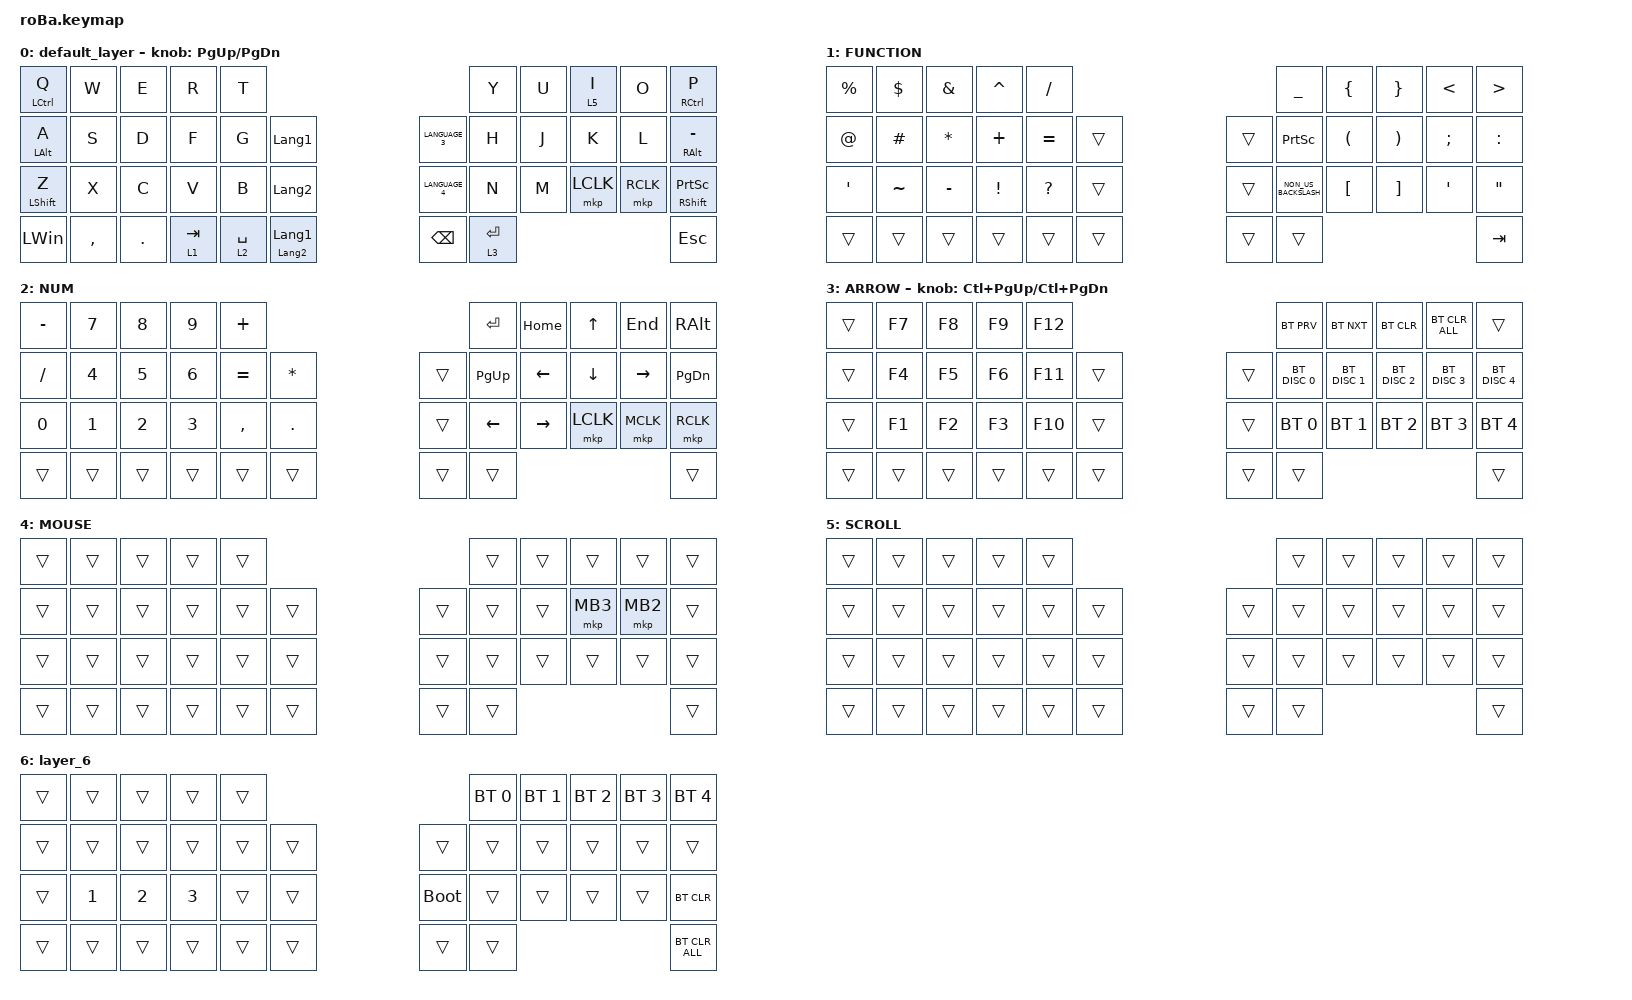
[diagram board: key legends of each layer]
#include <behaviors.dtsi>
#include <dt-bindings/zmk/bt.h>
#include <dt-bindings/zmk/keys.h>
#include <dt-bindings/zmk/pointing.h>

#define MOUSE 4
#define SCROLL 5
#define NUM 6

&mt {
    flavor = "balanced";
    quick-tap-ms = <0>;
};

/ {
    combos {
        compatible = "zmk,combos";

        tab {
            bindings = <&kp TAB>;
            key-positions = <11 12>;
        };

        shift_tab {
            bindings = <&kp LS(TAB)>;
            key-positions = <12 13>;
        };

        muhennkann {
            bindings = <&to_layer_0 INT_MUHENKAN>;
            key-positions = <11 10>;
        };

        double_quotation {
            bindings = <&kp DOUBLE_QUOTES>;
            key-positions = <20 21>;
        };

        eq {
            bindings = <&kp EQUAL>;
            key-positions = <24 25>;
        };
    };

    macros {
        to_layer_0: to_layer_0 {
            compatible = "zmk,behavior-macro-one-param";
            #binding-cells = <1>;
            bindings = <&to 0 &macro_param_1to1 &kp MACRO_PLACEHOLDER>;
            label = "TO_LAYER_0";
        };
    };

    behaviors {
        lt_to_layer_0: lt_to_layer_0 {
            compatible = "zmk,behavior-hold-tap";
            label = "LAYER_TAP_TO_0";
            bindings = <&mo>, <&to_layer_0>;

            #binding-cells = <2>;
            tapping-term-ms = <200>;
        };
    };

    keymap {
        compatible = "zmk,keymap";

        default_layer {
            bindings = <
&mt LEFT_CONTROL Q  &kp W      &kp E    &kp R      &kp T                                                       &kp Y         &kp U  &lt 5 I    &kp O      &mt RIGHT_CONTROL P
&mt LEFT_ALT A      &kp S      &kp D    &kp F      &kp G        &kp LANGUAGE_1                 &kp LANGUAGE_3  &kp H         &kp J  &kp K      &kp L      &mt RIGHT_ALT MINUS
&mt LEFT_SHIFT Z    &kp X      &kp C    &kp V      &kp B        &kp LANGUAGE_2                 &kp LANGUAGE_4  &kp N         &kp M  &mkp LCLK  &mkp RCLK  &mt RIGHT_SHIFT PRINTSCREEN
&kp LEFT_WIN        &kp COMMA  &kp DOT  &lt 1 TAB  &lt 2 SPACE  &mt LANGUAGE_2 LANGUAGE_1      &kp BACKSPACE   &lt 3 RETURN                               &kp ESCAPE
            >;

            sensor-bindings = <&inc_dec_kp PG_UP PAGE_DOWN>;
        };

        FUNCTION {
            bindings = <
&kp PERCENT  &kp DOLLAR  &kp AMPERSAND  &kp CARET        &kp SLASH                         &kp UNDERSCORE        &kp LEFT_BRACE        &kp RIGHT_BRACE        &kp LESS_THAN  &kp GREATER_THAN
&kp AT_SIGN  &kp HASH    &kp ASTERISK   &kp PLUS         &kp EQUAL     &trans      &trans  &kp PRINTSCREEN       &kp LEFT_PARENTHESIS  &kp RIGHT_PARENTHESIS  &kp SEMICOLON  &kp COLON
&kp SQT      &kp TILDE   &kp MINUS      &kp EXCLAMATION  &kp QUESTION  &trans      &trans  &kp NON_US_BACKSLASH  &kp LEFT_BRACKET      &kp RIGHT_BRACKET      &kp SQT        &kp DOUBLE_QUOTES
&trans       &trans      &trans         &trans           &trans        &trans      &trans  &trans                                                                            &kp TAB
            >;
        };

        NUM {
            bindings = <
&kp MINUS     &kp NUMBER_7  &kp NUMBER_8  &kp NUMBER_9  &kp PLUS                             &kp ENTER       &kp HOME        &kp UP_ARROW  &kp END    &kp RIGHT_ALT
&kp SLASH     &kp NUMBER_4  &kp NUMBER_5  &kp NUMBER_6  &kp EQUAL  &kp ASTERISK      &trans  &kp PAGE_UP     &kp LEFT_ARROW  &kp DOWN      &kp RIGHT  &kp PAGE_DOWN
&kp NUMBER_0  &kp NUMBER_1  &kp NUMBER_2  &kp NUMBER_3  &kp COMMA  &kp DOT           &trans  &kp LEFT_ARROW  &kp RIGHT       &mkp LCLK     &mkp MCLK  &mkp RCLK
&trans        &trans        &trans        &trans        &trans     &trans            &trans  &trans                                                   &trans
            >;
        };

        ARROW {
            bindings = <
&trans  &kp F7  &kp F8  &kp F9  &kp F12                      &bt BT_PRV     &bt BT_NXT     &bt BT_CLR     &bt BT_CLR_ALL  &trans
&trans  &kp F4  &kp F5  &kp F6  &kp F11  &trans      &trans  &bt BT_DISC 0  &bt BT_DISC 1  &bt BT_DISC 2  &bt BT_DISC 3   &bt BT_DISC 4
&trans  &kp F1  &kp F2  &kp F3  &kp F10  &trans      &trans  &bt BT_SEL 0   &bt BT_SEL 1   &bt BT_SEL 2   &bt BT_SEL 3    &bt BT_SEL 4
&trans  &trans  &trans  &trans  &trans   &trans      &trans  &trans                                                       &trans
            >;

            sensor-bindings = <&inc_dec_kp LC(PAGE_UP) LC(PAGE_DOWN)>;
        };

        MOUSE {
            bindings = <
&trans  &trans  &trans  &trans  &trans                      &trans  &trans  &trans    &trans    &trans
&trans  &trans  &trans  &trans  &trans  &trans      &trans  &trans  &trans  &mkp MB3  &mkp MB2  &trans
&trans  &trans  &trans  &trans  &trans  &trans      &trans  &trans  &trans  &trans    &trans    &trans
&trans  &trans  &trans  &trans  &trans  &trans      &trans  &trans                              &trans
            >;
        };

        SCROLL {
            bindings = <
&trans  &trans  &trans  &trans  &trans                      &trans  &trans  &trans  &trans  &trans
&trans  &trans  &trans  &trans  &trans  &trans      &trans  &trans  &trans  &trans  &trans  &trans
&trans  &trans  &trans  &trans  &trans  &trans      &trans  &trans  &trans  &trans  &trans  &trans
&trans  &trans  &trans  &trans  &trans  &trans      &trans  &trans                          &trans
            >;
        };

        layer_6 {
            bindings = <
&trans  &trans        &trans        &trans        &trans                           &bt BT_SEL 0  &bt BT_SEL 1  &bt BT_SEL 2  &bt BT_SEL 3  &bt BT_SEL 4
&trans  &trans        &trans        &trans        &trans  &trans      &trans       &trans        &trans        &trans        &trans        &trans
&trans  &kp NUMBER_1  &kp NUMBER_2  &kp NUMBER_3  &trans  &trans      &bootloader  &trans        &trans        &trans        &trans        &bt BT_CLR
&trans  &trans        &trans        &trans        &trans  &trans      &trans       &trans                                                  &bt BT_CLR_ALL
            >;
        };
    };
};
